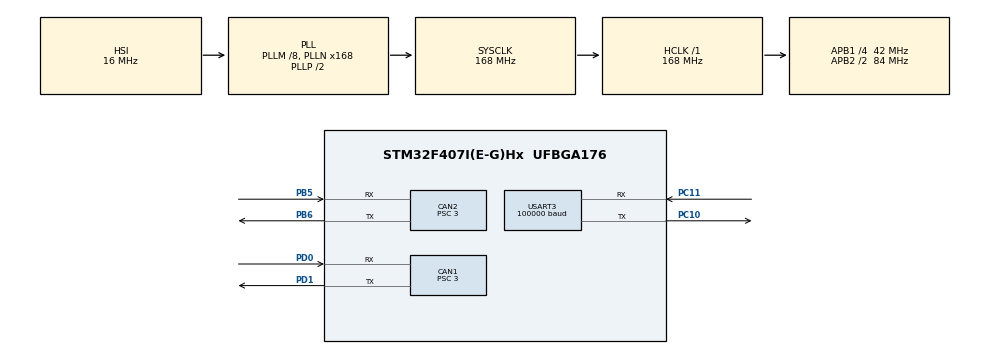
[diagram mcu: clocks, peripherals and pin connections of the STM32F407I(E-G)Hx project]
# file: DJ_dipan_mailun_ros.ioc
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CAN1.BS1=CAN_BS1_12TQ
CAN1.CalculateBaudRate=1000000
CAN1.CalculateTimeBit=1000
CAN1.CalculateTimeQuantum=71.42857142857143
CAN1.Prescaler=3
CAN2.BS1=CAN_BS1_12TQ
CAN2.CalculateBaudRate=1000000
CAN2.CalculateTimeBit=1000
CAN2.CalculateTimeQuantum=71.42857142857143
CAN2.Prescaler=3
Dma.Request0=USART3_RX
Dma.USART3_RX.0.Direction=DMA_PERIPH_TO_MEMORY
Dma.USART3_RX.0.FIFOMode=DMA_FIFOMODE_DISABLE
Dma.USART3_RX.0.Instance=DMA1_Stream1
Dma.USART3_RX.0.MemDataAlignment=DMA_MDATAALIGN_BYTE
Dma.USART3_RX.0.MemInc=DMA_MINC_ENABLE
Dma.USART3_RX.0.Mode=DMA_CIRCULAR
Dma.USART3_RX.0.PeriphDataAlignment=DMA_PDATAALIGN_BYTE
Dma.USART3_RX.0.PeriphInc=DMA_PINC_DISABLE
Dma.USART3_RX.0.Priority=DMA_PRIORITY_VERY_HIGH
FREERTOS.Tasks01=dipan,31,128,dipan_f,Default,NULL,Dynamic,NULL,NULL;yaokong,33,128,yaokong_f,Default,NULL,Dynamic,NULL,NULL;motor_state,32,128,motor_state_f,Default,NULL,Dynamic,NULL,NULL
Mcu.Family=STM32F4
Mcu.Name=STM32F407I(E-G)Hx
Mcu.Package=UFBGA176
NVIC.CAN1_RX0_IRQn=true\:5\:0\:false\:false\:true\:true\:true\:true\:true
NVIC.CAN1_RX1_IRQn=true\:5\:0\:false\:false\:true\:true\:true\:true\:true
NVIC.DMA1_Stream1_IRQn=true\:5\:0\:false\:false\:true\:true\:false\:true\:true
NVIC.PriorityGroup=NVIC_PRIORITYGROUP_4
NVIC.TIM8_TRG_COM_TIM14_IRQn=true\:15\:0\:false\:false\:true\:false\:false\:true\:true
NVIC.TimeBase=TIM8_TRG_COM_TIM14_IRQn
NVIC.TimeBaseIP=TIM14
PA13.Mode=Serial_Wire
PA13.Signal=SYS_JTMS-SWDIO
PA14.Mode=Serial_Wire
PA14.Signal=SYS_JTCK-SWCLK
PB5.Mode=CAN_Activate
PB5.Signal=CAN2_RX
PB6.Mode=CAN_Activate
PB6.Signal=CAN2_TX
PC10.Mode=Asynchronous
PC10.Signal=USART3_TX
PC11.Mode=Asynchronous
PC11.Signal=USART3_RX
PD0.Mode=CAN_Activate
PD0.Signal=CAN1_RX
PD1.Mode=CAN_Activate
PD1.Signal=CAN1_TX
PH0-OSC_IN.Mode=HSE-External-Oscillator
PH0-OSC_IN.Signal=RCC_OSC_IN
PH1-OSC_OUT.Mode=HSE-External-Oscillator
PH1-OSC_OUT.Signal=RCC_OSC_OUT
ProjectManager.HeapSize=0x200
ProjectManager.StackSize=0x400
ProjectManager.TargetToolchain=MDK-ARM V5.32
RCC.48MHZClocksFreq_Value=84000000
RCC.AHBFreq_Value=168000000
RCC.APB1CLKDivider=RCC_HCLK_DIV4
RCC.APB1Freq_Value=42000000
RCC.APB1TimFreq_Value=84000000
RCC.APB2CLKDivider=RCC_HCLK_DIV2
RCC.APB2Freq_Value=84000000
RCC.APB2TimFreq_Value=168000000
RCC.CortexFreq_Value=168000000
RCC.HCLKFreq_Value=168000000
RCC.HSE_VALUE=25000000
RCC.HSI_VALUE=16000000
RCC.LSE_VALUE=32768
RCC.PLLM=8
RCC.PLLN=168
RCC.SYSCLKFreq_VALUE=168000000
RCC.SYSCLKSource=RCC_SYSCLKSOURCE_PLLCLK
RCC.VCOOutputFreq_Value=336000000
USART3.BaudRate=100000
USART3.Mode=MODE_RX
USART3.Parity=PARITY_EVEN
USART3.VirtualMode=VM_ASYNC
VP_FREERTOS_VS_CMSIS_V2.Mode=CMSIS_V2
VP_SYS_VS_tim14.Mode=TIM14
board=custom

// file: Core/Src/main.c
/* USER CODE BEGIN Header */
/**
  ******************************************************************************
  * @file           : main.c
  * @brief          : Main program body
  ******************************************************************************
  * @attention
  *
  * Copyright (c) 2024 STMicroelectronics.
  * All rights reserved.
  *
  * This software is licensed under terms that can be found in the LICENSE file
  * in the root directory of this software component.
  * If no LICENSE file comes with this software, it is provided AS-IS.
  *
  ******************************************************************************
  */
/* USER CODE END Header */
#include "main.h"
#include "cmsis_os.h"
#include "can.h"
#include "dma.h"
#include "usart.h"
#include "gpio.h"

/* USER CODE BEGIN Includes */
#include "DJ_d16.h"
#include "DJ_Motor.h"
/* USER CODE END Includes */

void SystemClock_Config(void);
void MX_FREERTOS_Init(void);

int main(void)
{

  /* MCU Configuration--------------------------------------------------------*/

  /* Reset of all peripherals, Initializes the Flash interface and the Systick. */
  HAL_Init();

  /* Configure the system clock */
  SystemClock_Config();

  /* Initialize all configured peripherals */
  MX_GPIO_Init();
  MX_DMA_Init();
  MX_CAN1_Init();
  MX_USART3_UART_Init();
  MX_CAN2_Init();
  /* USER CODE BEGIN 2 */
	DJ16_Init(&huart3);
	DJ_Motor_Init(&hcan1);
  /* USER CODE END 2 */

  /* Init scheduler */
  osKernelInitialize();  /* Call init function for freertos objects (in freertos.c) */
  MX_FREERTOS_Init();

  /* Start scheduler */
  osKernelStart();

  /* We should never get here as control is now taken by the scheduler */
  /* Infinite loop */
  while (1)
  {

  }
}

void SystemClock_Config(void)
{
  RCC_OscInitTypeDef RCC_OscInitStruct = {0};
  RCC_ClkInitTypeDef RCC_ClkInitStruct = {0};

  /** Configure the main internal regulator output voltage
  */
  __HAL_RCC_PWR_CLK_ENABLE();
  __HAL_PWR_VOLTAGESCALING_CONFIG(PWR_REGULATOR_VOLTAGE_SCALE1);

  /** Initializes the RCC Oscillators according to the specified parameters
  * in the RCC_OscInitTypeDef structure.
  */
  RCC_OscInitStruct.OscillatorType = RCC_OSCILLATORTYPE_HSI;
  RCC_OscInitStruct.HSIState = RCC_HSI_ON;
  RCC_OscInitStruct.HSICalibrationValue = RCC_HSICALIBRATION_DEFAULT;
  RCC_OscInitStruct.PLL.PLLState = RCC_PLL_ON;
  RCC_OscInitStruct.PLL.PLLSource = RCC_PLLSOURCE_HSI;
  RCC_OscInitStruct.PLL.PLLM = 8;
  RCC_OscInitStruct.PLL.PLLN = 168;
  RCC_OscInitStruct.PLL.PLLP = RCC_PLLP_DIV2;
  RCC_OscInitStruct.PLL.PLLQ = 4;
  if (HAL_RCC_OscConfig(&RCC_OscInitStruct) != HAL_OK)
  {
    Error_Handler();
  }

  /** Initializes the CPU, AHB and APB buses clocks
  */
  RCC_ClkInitStruct.ClockType = RCC_CLOCKTYPE_HCLK|RCC_CLOCKTYPE_SYSCLK
                              |RCC_CLOCKTYPE_PCLK1|RCC_CLOCKTYPE_PCLK2;
  RCC_ClkInitStruct.SYSCLKSource = RCC_SYSCLKSOURCE_PLLCLK;
  RCC_ClkInitStruct.AHBCLKDivider = RCC_SYSCLK_DIV1;
  RCC_ClkInitStruct.APB1CLKDivider = RCC_HCLK_DIV4;
  RCC_ClkInitStruct.APB2CLKDivider = RCC_HCLK_DIV2;

  if (HAL_RCC_ClockConfig(&RCC_ClkInitStruct, FLASH_LATENCY_5) != HAL_OK)
  {
    Error_Handler();
  }
}

void HAL_TIM_PeriodElapsedCallback(TIM_HandleTypeDef *htim)
{
  if (htim->Instance == TIM14) {
    HAL_IncTick();
  }
}

void Error_Handler(void)
{
  __disable_irq();
  while (1)
  {
  }
}

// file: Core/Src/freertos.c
/* USER CODE BEGIN Header */
/**
  ******************************************************************************
  * File Name          : freertos.c
  * Description        : Code for freertos applications
  ******************************************************************************
  * @attention
  *
  * Copyright (c) 2024 STMicroelectronics.
  * All rights reserved.
  *
  * This software is licensed under terms that can be found in the LICENSE file
  * in the root directory of this software component.
  * If no LICENSE file comes with this software, it is provided AS-IS.
  *
  ******************************************************************************
  */
/* USER CODE END Header */

#include "FreeRTOS.h"
#include "task.h"
#include "main.h"
#include "cmsis_os.h"

/* USER CODE BEGIN Includes */
#include "DJ_d16.h"
#include "DJ_Motor.h"
/* USER CODE END Includes */

/* USER CODE BEGIN PTD */
typedef struct
{
  float kp;
  float ki;
  float kd;
  /* data */
}Pid;
/* USER CODE END PTD */

/* USER CODE BEGIN Variables */
	float x,y,z;
	int16_t motor1,motor2,motor3,motor4;
/* USER CODE END Variables */
/* Definitions for dipan */
osThreadId_t dipanHandle;
const osThreadAttr_t dipan_attributes = {
  .name = "dipan",
  .stack_size = 128 * 4,
  .priority = (osPriority_t) osPriorityNormal7,
};
/* Definitions for yaokong */
osThreadId_t yaokongHandle;
const osThreadAttr_t yaokong_attributes = {
  .name = "yaokong",
  .stack_size = 128 * 4,
  .priority = (osPriority_t) osPriorityAboveNormal1,
};
/* Definitions for motor_state */
osThreadId_t motor_stateHandle;
const osThreadAttr_t motor_state_attributes = {
  .name = "motor_state",
  .stack_size = 128 * 4,
  .priority = (osPriority_t) osPriorityAboveNormal,
};

/* USER CODE BEGIN FunctionPrototypes */
int16_t pid_v(float target,float current)
{
//	int i =1;
//	if(target <0)
//	{
//		target = target;
//		current = -current;
//		i = 0;
//	};
  Pid pid_v;
  pid_v.kp = 15;
  pid_v.ki = 0.7;
  pid_v.kd = 3;

  float c_err,l_err,i_err;
//  c_err = (yaokong.ch3-1024)/660*300 - motor_chassis.speed_rpm;
	c_err = target -current ;
  int16_t out_v = pid_v.kp * c_err + pid_v.kd *(c_err-l_err) + pid_v.ki *i_err;
  l_err = c_err;
  i_err += c_err;
	if(i_err >10000) i_err = 10000;
	if(i_err <-10000) i_err = 10000;

//	if(i == 0) out = -out;
	return out_v;
};
void dipan_sport()
{
//	int16_t x,y,z;
//	int16_t motor1,motor2,motor3,motor4;
	x = ((float)yaokong.ch2-1024)/660*2000;
	y = ((float)yaokong.ch3-1024)/660*2000;
//  z = ((float)yaokong.ch0-1024)/660*1000;

	if(yaokong.s1 == 1) z = 3000;
	else if(yaokong.s1 == 2) z = -3000;
	else z = 0;

	if(yaokong.ch3<363) y = 0;
	else if(yaokong.ch3>1685) y = 0;

	if(yaokong.ch2<364) x = 0;
	if(yaokong.ch2>1684) x = 0;
	if(yaokong.ch0<364) z = 0;
	if(yaokong.ch0>1684) z = 0;

	z = z*(15+19)/50;

	motor1 = x + y + z;
	motor2 = x - y + z;
	motor3 = -x + y + z;
	motor4 = -x - y + z;
	CAN_Motor_Control_35058(pid_v(motor1,motor_chassis_3508_1.speed_rpm),pid_v(motor2,motor_chassis_3508_2.speed_rpm),pid_v(motor3,motor_chassis_3508_3.speed_rpm),pid_v(motor4,motor_chassis_3508_4.speed_rpm));
};
void yuntai_sport()
{
	float w = 1.414*z/24.207 + ((float)yaokong.ch1-1024)/660*1000 ;
	CAN_Motor_Control_6020(pid_v(w,motor_chassis_6020_1.speed_rpm));

};
/* USER CODE END FunctionPrototypes */

void dipan_f(void *argument);
void yaokong_f(void *argument);
void motor_state_f(void *argument);

void MX_FREERTOS_Init(void); /* (MISRA C 2004 rule 8.1) */

void MX_FREERTOS_Init(void) {

  /* Create the thread(s) */
  /* creation of dipan */
  dipanHandle = osThreadNew(dipan_f, NULL, &dipan_attributes);

  /* creation of yaokong */
  yaokongHandle = osThreadNew(yaokong_f, NULL, &yaokong_attributes);

  /* creation of motor_state */
  motor_stateHandle = osThreadNew(motor_state_f, NULL, &motor_state_attributes);

}

void dipan_f(void *argument)
{
  /* USER CODE BEGIN dipan_f */
  /* Infinite loop */
  for(;;)
  {
		dipan_sport();
//		yuntai_sport();
    osDelay(1);
  }
  /* USER CODE END dipan_f */
}

void yaokong_f(void *argument)
{
  for(;;)
  {
    osDelay(1);
  }
}

void motor_state_f(void *argument)
{
  /* USER CODE BEGIN motor_state_f */
  /* Infinite loop */
  for(;;)
  {
//		CAN_RxHeaderTypeDef rx_header;
//		uint8_t rx_data[8];
//		HAL_CAN_GetRxMessage(&hcan1, CAN_RX_FIFO0, &rx_header, rx_data);
//
//		 switch (rx_header.StdId)
//		 {
//
//				case 0x201:         //0x200 + Id
//				{
//					get_motor_measure(&motor_chassis_3508_1, rx_data);
//					break;
//				}
//					case 0x202:         //0x200 + Id
//				{
//					get_motor_measure(&motor_chassis_3508_2, rx_data);
//					break;
//				}
//				case 0x203:         //0x200 + Id
//				{
//					get_motor_measure(&motor_chassis_3508_3, rx_data);
//					break;
//				}
//				case 0x204:         //0x200 + Id
//				{
//					get_motor_measure(&motor_chassis_3508_4, rx_data);
//					break;
//				}
//				case 0x205:         //0x200 + Id
//				{
//					get_motor_measure(&motor_chassis_6020, rx_data);
//					break;
//				}
//			default:
//			{
//				break;
//			}
		//x }
    osDelay(1);
  }
  /* USER CODE END motor_state_f */
}
